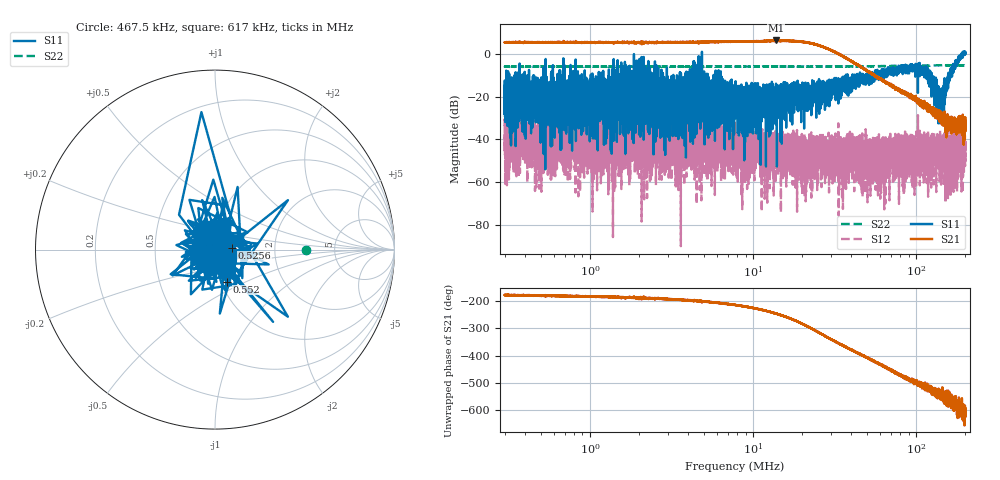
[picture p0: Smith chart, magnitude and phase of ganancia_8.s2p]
# Hz S DB R 50
! CMT, M5065, 19127446, 24.2.4/2
! Date: 11/1/2024 4:18:40 PM
! Data: Format (Calibration Info)
! Freq	S11:dB/Ang(F2)	S21:dB/Ang(F2)	S12:dB/Ang(F2)	S22:dB/Ang(F2)
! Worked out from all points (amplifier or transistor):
!   9000 points, 300 kHz to 200 MHz, reference 50 ohm
!   highest |S21| = 6.4 dB at 13.82 MHz (marker M1)
!   |S21| within 3 dB of that: start of sweep to 26.52 MHz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
!   unconditionally stable (mu >= 1): start of sweep to 1.86 MHz; 1.862 MHz to 4.856 MHz; 4.861 MHz to 189.1 MHz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
!   at 886.8 kHz: K = 6.55, MAG = 6.7 dB, |S12| = -30.3 dB
!   at 7.749 MHz: K = 29.72, MAG = 7.2 dB, |S12| = -44.0 dB
!   at 200 MHz: K = -691.63, MSG = 6.5 dB, |S12| = -47.7 dB
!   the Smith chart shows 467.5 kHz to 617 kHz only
!   S11 on the Smith chart (normalised r, x): 467.5 kHz: 0.94, +0.02; 525.6 kHz: 1.21, +0.02; 552 kHz: 1.07, -0.40; 617 kHz: 0.93, +0.01
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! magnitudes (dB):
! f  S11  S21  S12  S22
! 300 kHz  -17.6  5.6  -33.5  -5.9
! 310.4 kHz  -21.8  5.7  -43.0  -5.9
! 335.6 kHz  -16.7  5.5  -36.3  -5.9
! 467.5 kHz  -30.1  5.6  -38.1  -5.9
! 525.6 kHz  -20.5  5.4  -39.9  -5.9
! 552 kHz  -14.4  5.5  -56.7  -5.9
! 617 kHz  -28.7  5.5  -45.4  -5.9
! 886.8 kHz  -19.9  5.4  -30.3  -5.9
! 1.17 MHz  -20.6  5.6  -39.1  -5.9
! 1.25 MHz  -31.6  5.5  -42.7  -5.9
! 2.171 MHz  -21.2  5.5  -41.7  -5.9
! 2.621 MHz  -27.1  5.5  -33.9  -5.8
! 4.656 MHz  -26.2  5.6  -47.6  -5.9
! 7.749 MHz  -24.7  5.9  -44.0  -5.8
! 13.82 MHz  -13.8  6.4  -39.1  -5.9
! 22.91 MHz  -20.5  5.0  -44.0  -5.8
! 67.71 MHz  -7.7  -14.0  -48.8  -5.6
! 114.2 MHz  -5.7  -25.0  -40.9  -5.4
! 129.9 MHz  -17.9  -28.8  -45.4  -5.2
! 140.2 MHz  -21.5  -30.8  -38.5  -5.2
! 169.4 MHz  -6.5  -32.6  -47.5  -5.2
! 200 MHz  0.6  -34.8  -47.7  -5.3
